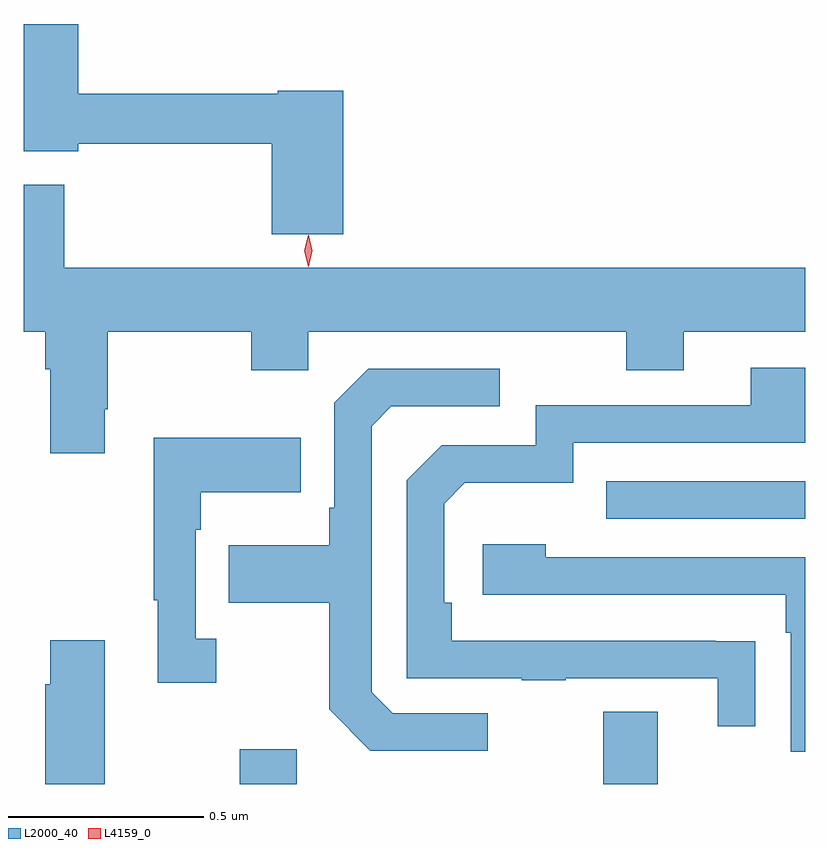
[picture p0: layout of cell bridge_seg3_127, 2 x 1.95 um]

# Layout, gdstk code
import gdstk
lib = gdstk.Library(unit=1e-6, precision=1e-09)
def R(c, l, rs):  # rectangles x0, y0, x1, y1
    for r in rs: c.add(gdstk.rectangle(r[:2], r[2:], *l))
def P(c, l, *ps):  # polygons
    for p in ps: c.add(gdstk.Polygon(p, *l))
L2000_40 = (2000, 40)
L4159_0 = (4159, 0)

bridge_seg3_127 = lib.new_cell('bridge_seg3_127')
R(bridge_seg3_127, L2000_40, [(366.382,701.09,366.529,701.179), (367.313,701.09,367.453,701.275), (367.321,701.769,367.83,701.865)])
P(bridge_seg3_127, L2000_40, [(366.647,702.865),(366.48,702.865),(366.48,702.857),(365.969,702.857),(365.969,703.036),(365.83,703.036),(365.83,702.71),(365.969,702.71),(365.969,702.729),(366.464,702.729),(366.464,702.498),(366.647,702.498)],
  [(366.037,702.049),(366.045,702.049),(366.045,702.248),(366.412,702.248),(366.412,702.149),(366.558,702.149),(366.558,702.248),(367.372,702.248),(367.372,702.149),(367.519,702.149),(367.519,702.248),(367.83,702.248),(367.83,702.412),(365.933,702.412),(365.933,702.625),(365.83,702.625),(365.83,702.248),(365.885,702.248),(365.885,702.152),(365.897,702.152),(365.897,701.937),(366.037,701.937)],
  [(367.703,701.456),(367.601,701.456),(367.601,701.457),(366.926,701.457),(366.926,701.554),(366.906,701.554),(366.906,701.808),(366.959,701.861),(367.236,701.861),(367.236,701.964),(367.83,701.964),(367.83,702.156),(367.691,702.156),(367.691,702.06),(367.14,702.06),(367.14,701.958),(366.9,701.958),(366.81,701.868),(366.81,701.361),(367.105,701.361),(367.105,701.356),(367.217,701.356),(367.217,701.361),(367.607,701.361),(367.607,701.238),(367.703,701.238)],
  [(367.018,701.271),(366.774,701.271),(366.72,701.325),(366.72,702.006),(366.771,702.057),(367.048,702.057),(367.048,702.153),(366.711,702.153),(366.624,702.066),(366.624,701.797),(366.612,701.797),(366.612,701.701),(366.355,701.701),(366.355,701.554),(366.612,701.554),(366.612,701.281),(366.717,701.175),(367.018,701.175)],
  [(366.322,701.462),(366.27,701.462),(366.27,701.741),(366.283,701.741),(366.283,701.837),(366.539,701.837),(366.539,701.977),(366.162,701.977),(366.162,701.561),(366.173,701.561),(366.173,701.349),(366.322,701.349)],
  [(367.83,701.67),(367.166,701.67),(367.166,701.704),(367.005,701.704),(367.005,701.574),(367.781,701.574),(367.781,701.477),(367.794,701.477),(367.794,701.172),(367.83,701.172)],
  [(366.037,701.458),(365.897,701.458),(365.897,701.345),(365.885,701.345),(365.885,701.09),(366.037,701.09)])
P(bridge_seg3_127, L4159_0, [(366.558,702.415),(366.558,702.416),(366.548,702.455),(366.558,702.495),(366.558,702.495),(366.559,702.495),(366.568,702.456),(366.559,702.416)])

lib.write_gds('bridge_seg3_127.gds')
